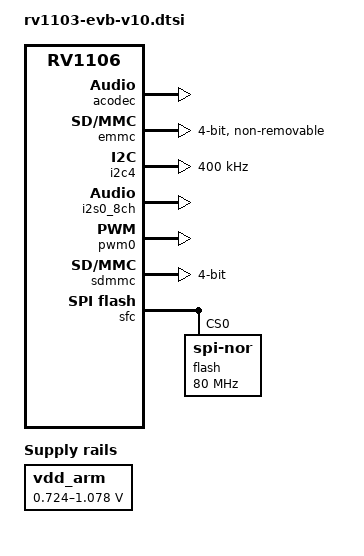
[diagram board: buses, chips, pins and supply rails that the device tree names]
// SPDX-License-Identifier: (GPL-2.0+ OR MIT)
/*
 * Copyright (c) 2022 Rockchip Electronics Co., Ltd.
 */

#include "rv1106-evb.dtsi"

/ {
	chosen {
		bootargs = "earlycon=uart8250,mmio32,0xff4c0000 console=ttyFIQ0 root=/dev/mmcblk0p5 rootfstype=ext4 rootwait snd_soc_core.prealloc_buffer_size_kbytes=16 coherent_pool=0";
	};

	acodec_sound: acodec-sound {
		compatible = "simple-audio-card";
		simple-audio-card,name = "rv1103-acodec";
		simple-audio-card,format = "i2s";
		simple-audio-card,mclk-fs = <256>;
		simple-audio-card,cpu {
			sound-dai = <&i2s0_8ch>;
		};
		simple-audio-card,codec {
			sound-dai = <&acodec>;
		};
	};

	vdd_arm: vdd-arm {
		compatible = "pwm-regulator";
		pwms = <&pwm0 0 5000 1>;
		regulator-name = "vdd_arm";
		regulator-min-microvolt = <724000>;
		regulator-max-microvolt = <1078000>;
		regulator-init-microvolt = <950000>;
		regulator-always-on;
		regulator-boot-on;
		regulator-settling-time-up-us = <250>;
	};
};

&acodec {
	#sound-dai-cells = <0>;
	pa-ctl-gpios = <&gpio0 RK_PA4 GPIO_ACTIVE_HIGH>;
	status = "okay";
};

&cpu0 {
	cpu-supply = <&vdd_arm>;
};

&emmc {
	bus-width = <4>;
	cap-mmc-highspeed;
	non-removable;
	mmc-hs200-1_8v;
	rockchip,default-sample-phase = <90>;
	no-sdio;
	no-sd;
	status = "okay";
};

&i2c4 {
	status = "okay";
	clock-frequency = <400000>;
	pinctrl-names = "default";
	pinctrl-0 = <&i2c4m2_xfer>;
};

&i2s0_8ch {
	#sound-dai-cells = <0>;
	status = "okay";
};

&pwm0 {
	status = "okay";
};

&sdmmc {
	max-frequency = <50000000>;
	no-sdio;
	no-mmc;
	bus-width = <4>;
	cap-mmc-highspeed;
	cap-sd-highspeed;
	disable-wp;
	pinctrl-names = "default";
	pinctrl-0 = <&sdmmc0_clk &sdmmc0_cmd &sdmmc0_det &sdmmc0_bus4>;
	status = "okay";
};

&sfc {
	status = "okay";

	flash@0 {
		compatible = "jedec,spi-nor";
		reg = <0>;
		spi-max-frequency = <80000000>;
		spi-rx-bus-width = <4>;
		spi-tx-bus-width = <1>;
	};
};
